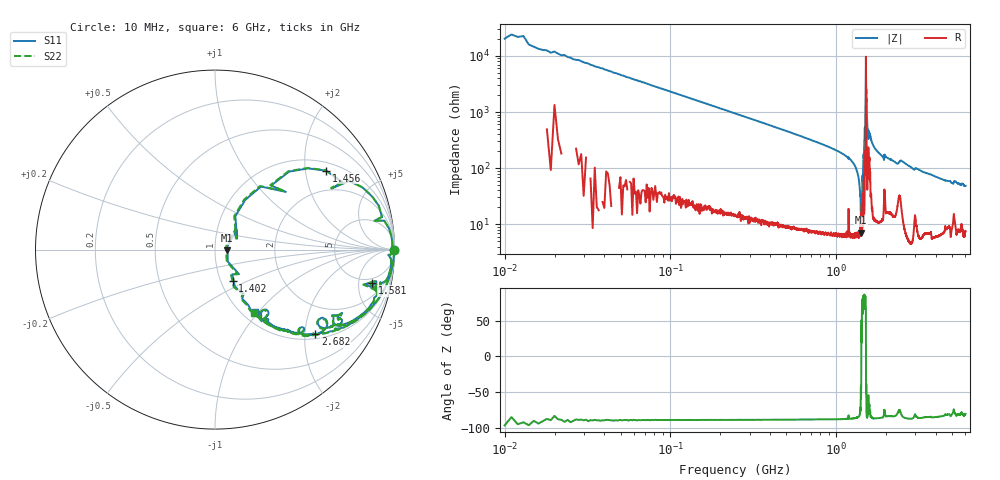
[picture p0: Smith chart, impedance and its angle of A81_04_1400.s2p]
!Agilent Technologies,N5242A,MY49421580,A.09.80.15
!Agilent N5242A: A.09.80.15
!Date: Wednesday, November 24, 2021 03:28:25
!Correction: S11(Full 2 Port(1,2))
!S21(Full 2 Port(1,2))
!S12(Full 2 Port(1,2))
!S22(Full 2 Port(1,2))
!S2P File: Measurements: S11, S21, S12, S22:
# Hz S  RI  R 50
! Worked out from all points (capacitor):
!   6001 points, 10 MHz to 6 GHz, reference 50 ohm
!   read as one part in series: C = 689 fF near 39.95 MHz
!   lowest |Z| = 7.09 ohm at 1.415 GHz (marker M1)
!   series resonance near 1.415 GHz, so ESL is about 18 nH
!   S11 on the Smith chart (normalised r, x): 10 MHz: open; 1.402 GHz: 1.14, -0.42; 1.456 GHz: 1.25, +2.60; 1.581 GHz: 3.96, -7.48; 2.682 GHz: 1.12, -2.26; 6 GHz: 1.14, -0.96
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1e7  0.9987 -0.00425  -0.000573 0.00488  -0.000375 0.00426  0.9954 -0.0041
5.093167e7  0.9974 -0.0222  0.00057 0.0221  0.000723 0.022  0.9966 -0.0226
8.587333e7  0.9965 -0.0376  0.00193 0.0372  0.00191 0.0369  0.9959 -0.0379
2.386183e8  0.9867 -0.1024  0.0122 0.1013  0.0123 0.1015  0.9864 -0.1032
5.241417e8  0.9455 -0.2167  0.0539 0.2152  0.0541 0.2152  0.9439 -0.2178
1.009332e9  0.7983 -0.3869  0.2014 0.3832  0.2014 0.3832  0.796 -0.389
1.318815e9  0.4821 -0.4637  0.5144 0.4602  0.5149 0.4599  0.4794 -0.4692
1.362742e9  0.3213 -0.4244  0.6762 0.4228  0.6762 0.4222  0.3145 -0.4284
1.401677e9  0.0989 -0.1765  0.8996 0.1752  0.9004 0.1743  0.0915 -0.1773
1.414655e9  0.0679 -0.00494  0.932 0.0027  0.9325 0.00238  0.0608 -0.00441
1.455587e9  0.6189 0.44  0.3801 -0.445  0.3802 -0.4447  0.6158 0.4427
1.490528e9  0.9319 0.1695  0.0658 -0.1747  0.0659 -0.1747  0.9323 0.171
1.509497e9  0.9848 -0.0126  0.0123 0.00858  0.0123 0.0085  0.9851 -0.0137
1.526468e9  0.9796 -0.0984  0.0183 0.0949  0.0182 0.0949  0.9793 -0.1002
1.581377e9  0.8768 -0.1857  0.1221 0.1805  0.1225 0.1806  0.8743 -0.1844
1.725137e9  0.8091 -0.3677  0.1892 0.3627  0.1895 0.3633  0.8083 -0.3708
2.006667e9  0.6864 -0.4147  0.3113 0.4092  0.3118 0.4098  0.6846 -0.4181
2.68154e9  0.5584 -0.4714  0.4367 0.4671  0.4377 0.4669  0.5547 -0.4764
3.005e9  0.498 -0.4437  0.4989 0.438  0.4993 0.438  0.4934 -0.4476
4.004332e9  0.341 -0.4333  0.6595 0.4277  0.6603 0.4278  0.3348 -0.4377
5.001667e9  0.2577 -0.3652  0.7404 0.3569  0.7416 0.3558  0.2505 -0.369
6e9  0.2218 -0.3479  0.7753 0.3349  0.7773 0.3343  0.2156 -0.3518
